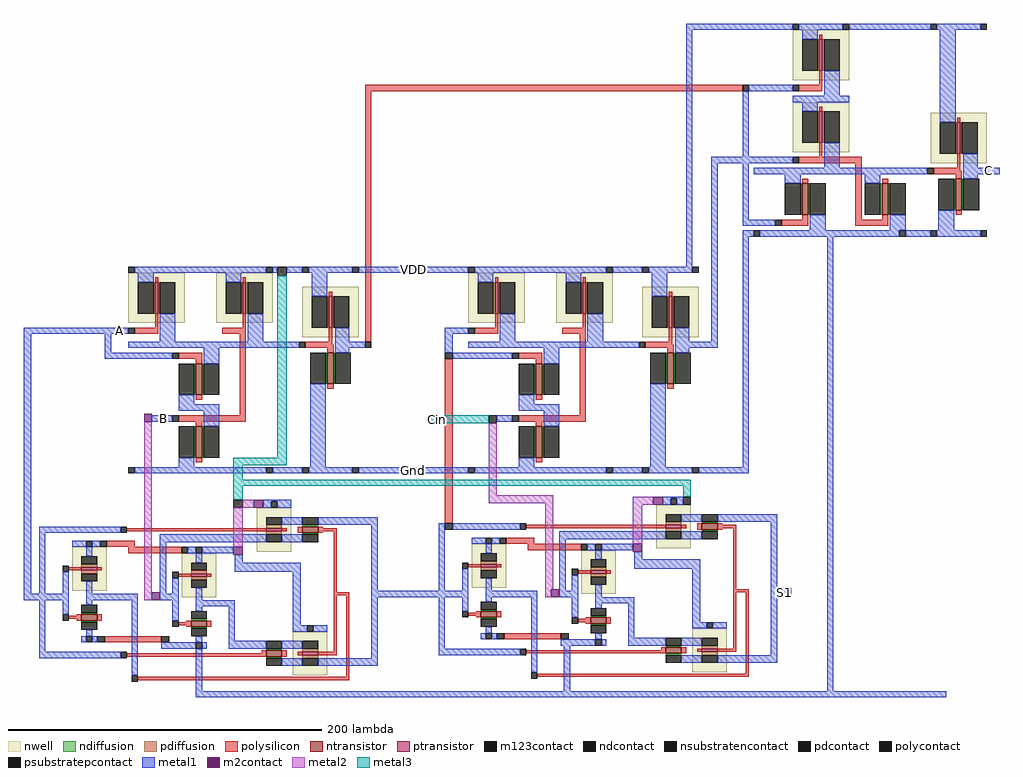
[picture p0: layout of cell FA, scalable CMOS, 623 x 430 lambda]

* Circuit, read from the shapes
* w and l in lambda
.subckt FA A B C Cin Gnd S1 VDD
M1 n1 A Gnd Gnd nfet w=10 l=4
M2 n2 B Gnd Gnd nfet w=10 l=4
M3 n3 B Gnd Gnd nfet w=20 l=4
M4 n4 A n3 Gnd nfet w=20 l=4
M5 n2 A n5 Gnd nfet w=10 l=4
M6 n5 n1 B Gnd nfet w=10 l=4
M7 n6 n4 Gnd Gnd nfet w=20 l=4
M8 n7 n5 Gnd Gnd nfet w=10 l=4
M9 n8 Cin Gnd Gnd nfet w=20 l=4
M10 n9 n5 n8 Gnd nfet w=20 l=4
M11 n10 Cin Gnd Gnd nfet w=10 l=4
M12 n10 n5 S1 Gnd nfet w=10 l=4
M13 n6 n9 Gnd Gnd nfet w=20 l=4
M14 S1 n7 Cin Gnd nfet w=10 l=4
M15 Gnd n6 n11 Gnd nfet w=20 l=4 m=2
M16 C n11 Gnd Gnd nfet w=20 l=4
M17 VDD A n1 n12 pfet w=10 l=2
M18 n4 A VDD n13 pfet w=20 l=2
M19 VDD B n2 n14 pfet w=10 l=2
M20 n4 B VDD n15 pfet w=20 l=2
M21 n5 A B n16 pfet w=10 l=2
M22 n2 n1 n5 n17 pfet w=10 l=2
M23 n6 n4 VDD n18 pfet w=20 l=2
M24 VDD n5 n7 n19 pfet w=10 l=2
M25 n9 n5 VDD n20 pfet w=20 l=2
M26 n9 Cin VDD n21 pfet w=20 l=2
M27 VDD Cin n10 n22 pfet w=10 l=2
M28 S1 n5 Cin n23 pfet w=10 l=2
M29 n6 n9 VDD n24 pfet w=20 l=2
M30 n10 n7 S1 n25 pfet w=10 l=2
M31 n11 n6 n26 n27 pfet w=20 l=2
M32 n26 n6 VDD n28 pfet w=20 l=2
M33 C n11 VDD n29 pfet w=20 l=2
.ends

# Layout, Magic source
magic
tech scmos
<< nwell >>
rect 767 384 803 416
rect 767 338 803 370
rect 855 331 891 363
rect 343 229 379 261
rect 399 229 435 261
rect 454 220 490 252
rect 560 229 596 261
rect 616 229 652 261
rect 671 220 707 252
rect 307 58 329 86
rect 425 83 447 111
rect 377 54 399 82
rect 562 60 584 88
rect 680 85 702 113
rect 632 56 654 84
rect 448 4 470 32
rect 703 6 725 34
<< ntransistor >>
rect 386 183 390 203
rect 773 298 777 318
rect 824 298 828 318
rect 871 301 875 321
rect 470 190 474 210
rect 386 143 390 163
rect 603 183 607 203
rect 687 190 691 210
rect 603 143 607 163
rect 454 95 464 99
rect 709 97 719 101
rect 313 39 323 43
rect 383 35 393 39
rect 431 16 441 20
rect 568 41 578 45
rect 638 37 648 41
rect 686 18 696 22
<< ptransistor >>
rect 784 390 786 410
rect 360 235 362 255
rect 416 235 418 255
rect 471 226 473 246
rect 784 344 786 364
rect 872 337 874 357
rect 577 235 579 255
rect 633 235 635 255
rect 688 226 690 246
rect 431 96 441 98
rect 686 98 696 100
rect 313 71 323 73
rect 383 67 393 69
rect 568 73 578 75
rect 638 69 648 71
rect 454 17 464 19
rect 709 19 719 21
<< ndiffusion >>
rect 385 183 386 203
rect 390 183 391 203
rect 772 298 773 318
rect 777 298 778 318
rect 823 298 824 318
rect 828 298 829 318
rect 870 301 871 321
rect 875 301 876 321
rect 469 190 470 210
rect 474 190 475 210
rect 385 143 386 163
rect 390 143 391 163
rect 454 99 464 100
rect 602 183 603 203
rect 607 183 608 203
rect 686 190 687 210
rect 691 190 692 210
rect 602 143 603 163
rect 607 143 608 163
rect 709 101 719 102
rect 454 94 464 95
rect 709 96 719 97
rect 313 43 323 44
rect 383 39 393 40
rect 313 38 323 39
rect 383 34 393 35
rect 431 20 441 21
rect 431 15 441 16
rect 568 45 578 46
rect 638 41 648 42
rect 568 40 578 41
rect 638 36 648 37
rect 686 22 696 23
rect 686 17 696 18
<< pdiffusion >>
rect 783 390 784 410
rect 786 390 787 410
rect 359 235 360 255
rect 362 235 363 255
rect 415 235 416 255
rect 418 235 419 255
rect 470 226 471 246
rect 473 226 474 246
rect 783 344 784 364
rect 786 344 787 364
rect 871 337 872 357
rect 874 337 875 357
rect 576 235 577 255
rect 579 235 580 255
rect 632 235 633 255
rect 635 235 636 255
rect 687 226 688 246
rect 690 226 691 246
rect 431 98 441 100
rect 431 94 441 96
rect 686 100 696 102
rect 313 73 323 75
rect 313 69 323 71
rect 383 69 393 71
rect 383 65 393 67
rect 686 96 696 98
rect 568 75 578 77
rect 568 71 578 73
rect 638 71 648 73
rect 638 67 648 69
rect 454 19 464 21
rect 454 15 464 17
rect 709 21 719 23
rect 709 17 719 19
<< ndcontact >>
rect 375 183 385 203
rect 391 183 401 203
rect 762 298 772 318
rect 778 298 788 318
rect 813 298 823 318
rect 829 298 839 318
rect 860 301 870 321
rect 876 301 886 321
rect 459 190 469 210
rect 475 190 485 210
rect 375 143 385 163
rect 391 143 401 163
rect 454 100 464 105
rect 592 183 602 203
rect 608 183 618 203
rect 676 190 686 210
rect 692 190 702 210
rect 592 143 602 163
rect 608 143 618 163
rect 709 102 719 107
rect 454 89 464 94
rect 709 91 719 96
rect 313 44 323 49
rect 383 40 393 45
rect 313 33 323 38
rect 383 29 393 34
rect 431 21 441 26
rect 431 10 441 15
rect 568 46 578 51
rect 638 42 648 47
rect 568 35 578 40
rect 638 31 648 36
rect 686 23 696 28
rect 686 12 696 17
<< pdcontact >>
rect 773 390 783 410
rect 787 390 797 410
rect 349 235 359 255
rect 363 235 373 255
rect 405 235 415 255
rect 419 235 429 255
rect 460 226 470 246
rect 474 226 484 246
rect 773 344 783 364
rect 787 344 797 364
rect 861 337 871 357
rect 875 337 885 357
rect 566 235 576 255
rect 580 235 590 255
rect 622 235 632 255
rect 636 235 646 255
rect 677 226 687 246
rect 691 226 701 246
rect 431 100 441 105
rect 686 102 696 107
rect 431 89 441 94
rect 313 75 323 80
rect 383 71 393 76
rect 313 64 323 69
rect 383 60 393 65
rect 686 91 696 96
rect 568 77 578 82
rect 638 73 648 78
rect 568 66 578 71
rect 638 62 648 67
rect 454 21 464 26
rect 454 10 464 15
rect 709 23 719 28
rect 709 12 719 17
<< psubstratepcontact >>
rect 742 284 746 288
rect 835 284 839 288
rect 855 284 859 288
rect 887 284 891 288
rect 343 133 347 137
rect 431 133 435 137
rect 454 133 458 137
rect 486 133 490 137
rect 560 133 564 137
rect 648 133 652 137
rect 671 133 675 137
rect 703 133 707 137
rect 316 25 320 29
rect 386 21 390 25
rect 571 27 575 31
rect 641 23 645 27
<< nsubstratencontact >>
rect 767 416 771 420
rect 799 416 803 420
rect 855 416 859 420
rect 887 416 891 420
rect 343 261 347 265
rect 431 261 435 265
rect 454 261 458 265
rect 486 261 490 265
rect 560 261 564 265
rect 648 261 652 265
rect 671 261 675 265
rect 703 261 707 265
rect 434 111 438 115
rect 689 113 693 117
rect 316 86 320 90
rect 386 82 390 86
rect 571 88 575 92
rect 641 84 645 88
rect 457 32 461 36
rect 712 34 716 38
<< polysilicon >>
rect 784 410 786 413
rect 784 381 786 390
rect 494 377 735 381
rect 771 377 786 381
rect 360 255 362 258
rect 416 255 418 258
rect 471 246 473 249
rect 360 226 362 235
rect 416 226 418 235
rect 347 222 362 226
rect 403 222 418 226
rect 375 206 390 210
rect 386 203 390 206
rect 386 180 390 183
rect 414 170 418 222
rect 471 217 473 226
rect 456 215 473 217
rect 494 217 498 377
rect 784 364 786 367
rect 872 357 874 360
rect 784 335 786 344
rect 771 331 811 335
rect 773 318 777 321
rect 773 295 777 298
rect 760 291 777 295
rect 807 295 811 331
rect 872 328 874 337
rect 857 326 874 328
rect 857 324 875 326
rect 871 321 875 324
rect 824 318 828 321
rect 871 298 875 301
rect 824 295 828 298
rect 807 291 828 295
rect 577 255 579 258
rect 633 255 635 258
rect 688 246 690 249
rect 577 226 579 235
rect 633 226 635 235
rect 564 222 579 226
rect 620 222 635 226
rect 456 213 474 215
rect 470 210 474 213
rect 592 206 607 210
rect 470 187 474 190
rect 375 166 418 170
rect 386 163 390 166
rect 386 140 390 143
rect 545 101 550 206
rect 603 203 607 206
rect 603 180 607 183
rect 631 170 635 222
rect 688 217 690 226
rect 673 215 690 217
rect 673 213 691 215
rect 687 210 691 213
rect 687 187 691 190
rect 592 166 635 170
rect 603 163 607 166
rect 603 140 607 143
rect 342 96 431 98
rect 441 96 444 98
rect 451 95 454 99
rect 464 98 467 99
rect 464 96 476 98
rect 597 98 686 100
rect 696 98 699 100
rect 464 95 467 96
rect 329 86 347 90
rect 343 82 377 86
rect 305 71 313 73
rect 323 71 326 73
rect 375 67 383 69
rect 393 67 396 69
rect 474 57 476 96
rect 706 97 709 101
rect 719 100 722 101
rect 719 98 731 100
rect 719 97 722 98
rect 584 88 602 92
rect 598 84 632 88
rect 560 73 568 75
rect 578 73 581 75
rect 630 69 638 71
rect 648 69 651 71
rect 729 59 731 98
rect 729 57 739 59
rect 474 55 484 57
rect 310 42 313 43
rect 305 40 313 42
rect 310 39 313 40
rect 323 39 326 43
rect 380 38 383 39
rect 375 36 383 38
rect 380 35 383 36
rect 393 35 396 39
rect 328 25 364 29
rect 428 18 431 20
rect 342 16 431 18
rect 441 16 444 20
rect 474 19 476 55
rect 451 17 454 19
rect 464 17 476 19
rect 482 3 484 55
rect 565 44 568 45
rect 560 42 568 44
rect 565 41 568 42
rect 578 41 581 45
rect 635 40 638 41
rect 630 38 638 40
rect 635 37 638 38
rect 648 37 651 41
rect 583 27 619 31
rect 683 20 686 22
rect 597 18 686 20
rect 696 18 699 22
rect 729 21 731 57
rect 706 19 709 21
rect 719 19 731 21
rect 349 1 484 3
rect 737 5 739 57
rect 604 3 739 5
<< polycontact >>
rect 735 377 739 381
rect 767 377 771 381
rect 343 222 347 226
rect 371 206 375 210
rect 452 213 456 217
rect 767 331 771 335
rect 756 291 760 295
rect 853 324 857 328
rect 560 222 564 226
rect 494 213 498 217
rect 545 206 550 210
rect 588 206 592 210
rect 371 166 375 170
rect 338 95 342 99
rect 669 213 673 217
rect 588 166 592 170
rect 545 97 550 101
rect 593 97 597 101
rect 325 86 329 90
rect 377 82 381 86
rect 301 70 305 74
rect 371 66 375 70
rect 580 88 584 92
rect 632 84 636 88
rect 556 72 560 76
rect 626 68 630 72
rect 301 39 305 43
rect 371 35 375 39
rect 323 25 328 29
rect 364 25 369 29
rect 338 15 342 19
rect 345 0 349 4
rect 556 41 560 45
rect 626 37 630 41
rect 578 27 583 31
rect 619 27 624 31
rect 593 17 597 21
rect 600 2 604 6
<< metal1 >>
rect 699 416 767 420
rect 771 416 799 420
rect 803 416 855 420
rect 859 416 887 420
rect 699 265 703 416
rect 773 410 783 416
rect 739 377 767 381
rect 735 335 739 377
rect 787 374 797 390
rect 767 370 803 374
rect 773 364 783 370
rect 715 331 767 335
rect 347 261 431 265
rect 435 261 438 265
rect 349 255 359 261
rect 405 255 415 261
rect 444 261 454 265
rect 458 261 486 265
rect 490 261 560 265
rect 564 261 648 265
rect 652 261 671 265
rect 675 261 703 265
rect 276 222 343 226
rect 276 56 281 222
rect 328 210 332 222
rect 363 217 373 235
rect 419 217 429 235
rect 460 246 470 261
rect 566 255 576 261
rect 622 255 632 261
rect 475 217 484 226
rect 545 222 560 226
rect 343 213 452 217
rect 475 213 494 217
rect 328 206 371 210
rect 391 203 401 213
rect 475 210 484 213
rect 545 210 550 222
rect 580 217 590 235
rect 636 217 646 235
rect 677 246 687 261
rect 692 217 701 226
rect 715 217 719 331
rect 735 295 739 331
rect 787 328 797 344
rect 861 357 871 416
rect 876 328 885 337
rect 742 324 853 328
rect 876 324 899 328
rect 762 318 772 324
rect 813 318 823 324
rect 876 321 885 324
rect 735 291 756 295
rect 778 288 788 298
rect 829 288 839 298
rect 860 288 870 301
rect 560 213 669 217
rect 692 213 719 217
rect 735 284 742 288
rect 746 284 835 288
rect 839 284 855 288
rect 859 284 887 288
rect 550 206 588 210
rect 608 203 618 213
rect 692 210 701 213
rect 375 177 385 183
rect 375 173 401 177
rect 358 166 371 170
rect 391 163 401 173
rect 375 137 385 143
rect 459 137 469 190
rect 592 177 602 183
rect 592 173 618 177
rect 578 166 588 170
rect 608 163 618 173
rect 592 137 602 143
rect 676 137 686 190
rect 735 137 739 284
rect 347 133 431 137
rect 435 133 454 137
rect 458 133 486 137
rect 490 133 560 137
rect 564 133 648 137
rect 652 133 671 137
rect 675 133 703 137
rect 707 133 739 137
rect 429 115 447 116
rect 429 111 434 115
rect 438 111 447 115
rect 684 117 697 118
rect 684 113 689 117
rect 693 113 697 117
rect 441 100 454 105
rect 464 100 502 105
rect 696 102 709 107
rect 719 102 757 107
rect 286 95 338 99
rect 286 56 290 95
rect 307 86 316 90
rect 320 86 325 90
rect 363 89 431 94
rect 441 89 454 94
rect 316 80 320 86
rect 301 56 305 70
rect 276 52 305 56
rect 286 19 290 52
rect 301 43 305 52
rect 316 56 320 64
rect 316 52 349 56
rect 363 56 367 89
rect 381 82 386 86
rect 390 82 410 86
rect 386 76 390 82
rect 411 76 416 81
rect 411 70 453 76
rect 371 56 375 66
rect 363 52 375 56
rect 316 49 320 52
rect 316 29 320 33
rect 313 25 316 29
rect 320 25 323 29
rect 286 15 338 19
rect 345 4 349 52
rect 371 39 375 52
rect 386 52 390 60
rect 386 48 411 52
rect 386 45 390 48
rect 386 25 390 29
rect 407 26 411 48
rect 448 36 453 70
rect 498 58 502 100
rect 541 58 545 101
rect 550 97 593 101
rect 562 88 571 92
rect 575 88 580 92
rect 618 91 686 96
rect 696 91 709 96
rect 571 82 575 88
rect 556 58 560 72
rect 498 54 560 58
rect 448 32 457 36
rect 461 32 470 36
rect 364 21 386 25
rect 390 21 393 25
rect 407 21 431 26
rect 441 21 454 26
rect 386 -6 390 21
rect 498 15 502 54
rect 541 21 545 54
rect 556 45 560 54
rect 571 58 575 66
rect 571 54 604 58
rect 618 58 622 91
rect 636 84 641 88
rect 645 84 665 88
rect 641 78 645 84
rect 666 78 671 83
rect 666 72 708 78
rect 626 58 630 68
rect 618 54 630 58
rect 571 51 575 54
rect 571 31 575 35
rect 568 27 571 31
rect 575 27 578 31
rect 541 17 593 21
rect 441 10 454 15
rect 464 10 502 15
rect 600 6 604 54
rect 626 41 630 54
rect 641 54 645 62
rect 641 50 666 54
rect 641 47 645 50
rect 641 27 645 31
rect 662 28 666 50
rect 703 38 708 72
rect 753 60 757 102
rect 753 54 766 60
rect 703 34 712 38
rect 716 34 725 38
rect 619 23 641 27
rect 645 23 648 27
rect 662 23 686 28
rect 696 23 709 28
rect 621 -6 625 23
rect 753 17 757 54
rect 696 12 709 17
rect 719 12 757 17
rect 789 -6 793 284
rect 386 -10 865 -6
<< m2contact >>
rect 353 166 358 171
rect 423 111 429 116
rect 678 113 684 118
rect 358 52 363 57
rect 410 81 416 86
rect 613 54 618 59
rect 665 83 671 88
<< metal2 >>
rect 353 52 358 166
rect 573 119 578 165
rect 416 111 423 116
rect 573 114 614 119
rect 410 86 416 111
rect 609 59 614 114
rect 665 113 678 118
rect 665 88 671 113
rect 609 54 613 59
<< m123contact >>
rect 438 259 444 265
rect 573 165 578 170
rect 410 111 416 116
rect 697 113 702 118
<< metal3 >>
rect 438 143 444 259
rect 535 165 573 170
rect 410 138 444 143
rect 410 129 416 138
rect 410 125 702 129
rect 410 116 416 125
rect 697 118 702 125
<< labels >>
rlabel metal1 328 222 347 226 1 A
rlabel metal1 757 54 766 60 7 S1
rlabel metal3 535 165 545 170 1 Cin
rlabel metal1 343 133 707 137 1 Gnd
rlabel metal1 343 261 707 265 5 VDD
rlabel metal1 885 324 899 328 1 C
rlabel metal1 356 166 375 170 1 B
<< end >>
